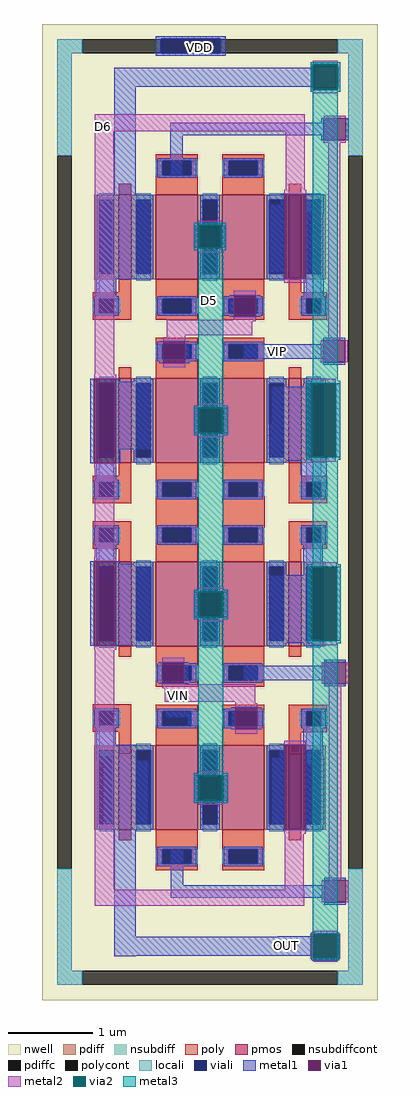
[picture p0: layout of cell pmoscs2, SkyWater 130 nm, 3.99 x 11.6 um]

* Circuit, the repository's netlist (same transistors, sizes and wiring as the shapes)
** sch_path: /home/deboradmk/opamp/mag/pmoscs2.sch
.subckt pmoscs2 VDD D5 VIN VIP OUT D6
*.PININFO VIN:I VIP:I D5:B VDD:B D6:B OUT:B
XM6 D6 VIN D5 VDD sky130_fd_pr__pfet_01v8 L=0.5 W=1 nf=1 m=4
XM7 OUT VIP D5 VDD sky130_fd_pr__pfet_01v8 L=0.5 W=1 nf=1 m=4
XM1 D6 D6 D6 VDD sky130_fd_pr__pfet_01v8 L=0.15 W=1 nf=1 m=4
XM2 OUT OUT OUT VDD sky130_fd_pr__pfet_01v8 L=0.15 W=1 nf=1 m=4
.ends
.end

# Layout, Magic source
magic
tech sky130A
magscale 1 2
<< nwell >>
rect -176 -305 622 2014
<< pmos >>
rect 410 1408 440 1410
rect 410 972 440 974
<< pdiff >>
rect 401 1408 410 1410
rect 440 1408 498 1410
rect 404 972 410 974
rect 440 972 498 974
<< nsubdiff >>
rect -140 1944 -80 1978
rect 526 1944 586 1978
rect -140 1701 -106 1944
rect 552 1701 586 1944
rect -140 -235 -106 7
rect 552 -235 586 7
rect -140 -269 -80 -235
rect 526 -269 586 -235
<< nsubdiffcont >>
rect -80 1944 526 1978
rect -140 7 -106 1701
rect 552 7 586 1701
rect -80 -269 526 -235
<< poly >>
rect 6 1377 36 1408
rect -56 1361 36 1377
rect -56 1327 -40 1361
rect -6 1327 36 1361
rect -56 1311 36 1327
rect 410 1377 440 1408
rect 410 1361 502 1377
rect 410 1327 452 1361
rect 486 1327 502 1361
rect 410 1311 502 1327
rect 6 941 36 970
rect -56 925 36 941
rect -56 891 -40 925
rect -6 891 36 925
rect 410 941 440 972
rect 410 925 502 941
rect -56 875 36 891
rect -56 817 36 833
rect 94 817 194 891
rect 253 818 353 892
rect 410 891 452 925
rect 486 891 502 925
rect 410 875 502 891
rect 410 817 502 833
rect -56 783 -40 817
rect -6 783 36 817
rect -56 767 36 783
rect 6 736 36 767
rect 410 783 452 817
rect 486 783 502 817
rect 410 767 502 783
rect 410 736 440 767
rect -56 382 36 398
rect -56 348 -40 382
rect -6 348 36 382
rect -56 332 36 348
rect 6 279 36 332
rect 410 381 502 397
rect 410 347 452 381
rect 486 347 502 381
rect 410 331 502 347
rect 410 279 440 331
<< polycont >>
rect -40 1327 -6 1361
rect 452 1327 486 1361
rect -40 891 -6 925
rect 452 891 486 925
rect -40 783 -6 817
rect 452 783 486 817
rect -40 348 -6 382
rect 452 347 486 381
<< locali >>
rect -140 1944 -80 1978
rect 526 1944 586 1978
rect -140 1701 -106 1944
rect 552 1701 586 1944
rect 452 1569 486 1610
rect -40 1406 -6 1408
rect -41 1361 -6 1406
rect 48 1404 49 1408
rect 452 1406 486 1410
rect 452 1361 487 1406
rect -56 1327 -40 1361
rect -6 1327 10 1361
rect 436 1327 452 1361
rect 486 1327 502 1361
rect 452 1134 486 1170
rect -40 970 -6 997
rect -41 925 -6 970
rect 48 969 54 971
rect 452 970 486 974
rect 452 925 487 970
rect -56 891 -40 925
rect -6 891 10 925
rect 436 891 452 925
rect 486 891 502 925
rect -56 783 -40 817
rect -6 783 10 817
rect 436 783 452 817
rect 486 783 502 817
rect -41 700 -6 783
rect 452 736 486 783
rect -56 348 -40 382
rect -6 348 10 382
rect -40 277 -6 348
rect 436 347 452 381
rect 486 347 502 381
rect 452 256 486 347
rect -140 -235 -106 7
rect 552 -235 586 7
rect -140 -269 -80 -235
rect 526 -269 586 -235
<< viali >>
rect 106 1978 248 1979
rect 106 1944 248 1978
rect -40 1327 -6 1361
rect 452 1327 486 1361
rect -40 891 -6 925
rect 452 891 486 925
rect -40 783 -6 817
rect 452 783 486 817
rect -40 348 -6 382
rect 452 347 486 381
<< metal1 >>
rect 94 1979 260 1985
rect 94 1944 106 1979
rect 248 1944 260 1979
rect 94 1938 260 1944
rect 471 1914 523 1920
rect -5 1865 471 1910
rect -5 1607 47 1865
rect 471 1856 523 1862
rect 487 1779 493 1790
rect 129 1750 493 1779
rect 129 1657 158 1750
rect 487 1738 493 1750
rect 545 1738 551 1790
rect -45 1586 82 1607
rect -46 1426 82 1586
rect 390 1584 400 1610
rect 187 1483 197 1535
rect 249 1483 259 1535
rect -45 1408 82 1426
rect 366 1424 400 1584
rect 390 1409 400 1424
rect 452 1563 493 1610
rect 452 1424 492 1563
rect 452 1410 462 1424
rect 452 1409 493 1410
rect 401 1408 404 1409
rect -47 1407 82 1408
rect -47 1367 0 1407
rect -52 1361 6 1367
rect -52 1327 -40 1361
rect -6 1327 6 1361
rect -52 1321 6 1327
rect 270 1318 280 1370
rect 332 1318 342 1370
rect 446 1367 493 1409
rect 440 1361 498 1367
rect 440 1327 452 1361
rect 486 1327 498 1361
rect 440 1321 498 1327
rect 492 1262 544 1268
rect 102 1208 112 1260
rect 164 1208 174 1260
rect 302 1219 492 1253
rect 492 1204 544 1210
rect -62 970 -52 1171
rect 0 1164 10 1171
rect 0 1004 84 1164
rect 453 1159 463 1161
rect 445 1152 463 1159
rect 185 1042 195 1102
rect 255 1042 265 1102
rect 370 1064 463 1152
rect 0 970 10 1004
rect 362 984 463 1064
rect 522 984 532 1161
rect 362 976 500 984
rect -47 931 0 970
rect -52 925 6 931
rect -52 891 -40 925
rect -6 891 6 925
rect -52 885 6 891
rect 440 925 500 976
rect 440 891 452 925
rect 486 910 500 925
rect 486 891 498 910
rect 440 885 498 891
rect -52 817 6 823
rect -52 783 -40 817
rect -6 783 6 817
rect -52 777 6 783
rect 440 817 498 823
rect 440 783 452 817
rect 486 783 498 817
rect 440 777 498 783
rect -47 738 0 777
rect -62 537 -52 738
rect 0 732 10 738
rect 445 736 491 777
rect 0 538 80 732
rect 455 723 465 725
rect 450 704 465 723
rect 185 605 195 665
rect 255 605 265 665
rect 360 548 465 704
rect 524 548 534 725
rect 360 544 486 548
rect 0 537 10 538
rect 494 498 546 504
rect 100 446 110 498
rect 162 446 172 498
rect 303 455 494 489
rect 494 440 546 446
rect -52 382 6 388
rect -52 348 -40 382
rect -6 348 6 382
rect 118 367 194 381
rect -52 342 6 348
rect 169 347 194 367
rect -47 301 -1 342
rect 273 338 283 390
rect 335 338 345 390
rect 440 381 498 387
rect 440 347 452 381
rect 486 347 498 381
rect 440 341 498 347
rect 445 301 491 341
rect -47 264 47 301
rect 389 272 399 301
rect -47 259 78 264
rect -30 104 78 259
rect 185 169 195 229
rect 255 169 265 229
rect 368 112 399 272
rect -5 -155 47 104
rect 389 100 399 112
rect 451 272 491 301
rect 451 112 494 272
rect 451 100 461 112
rect 130 -32 160 53
rect 494 -21 546 -15
rect 130 -62 494 -32
rect 494 -79 546 -73
rect 467 -147 527 -141
rect 384 -155 467 -154
rect -5 -200 467 -155
rect -5 -201 47 -200
rect 467 -213 527 -207
<< via1 >>
rect 471 1862 523 1914
rect 493 1738 545 1790
rect 197 1483 249 1535
rect 400 1409 452 1610
rect 280 1318 332 1370
rect 112 1208 164 1260
rect 492 1210 544 1262
rect -52 970 0 1171
rect 195 1042 255 1102
rect 463 984 522 1161
rect -52 537 0 738
rect 195 605 255 665
rect 465 548 524 725
rect 110 446 162 498
rect 494 446 546 498
rect 283 338 335 390
rect 195 169 255 229
rect 399 100 451 301
rect 494 -73 546 -21
rect 467 -207 527 -147
<< metal2 >>
rect 467 1918 527 1927
rect 465 1862 467 1914
rect 527 1862 529 1914
rect 467 1849 527 1858
rect -51 1759 448 1799
rect -51 1702 -6 1759
rect -51 1181 -5 1702
rect 403 1620 448 1759
rect 493 1790 545 1796
rect 493 1732 545 1738
rect 400 1610 452 1620
rect 195 1537 251 1547
rect 195 1471 251 1481
rect 400 1399 452 1409
rect 280 1370 332 1380
rect 280 1311 332 1318
rect 120 1308 332 1311
rect 120 1275 323 1308
rect 120 1270 164 1275
rect 112 1260 164 1270
rect 504 1262 533 1732
rect 486 1210 492 1262
rect 544 1210 550 1262
rect 112 1198 164 1208
rect -52 1171 0 1181
rect 463 1161 522 1171
rect 195 1102 255 1112
rect 195 1032 255 1042
rect 463 974 522 984
rect -52 960 0 970
rect -51 748 -5 960
rect -52 738 0 748
rect 465 725 524 735
rect 195 665 255 675
rect 195 595 255 605
rect 465 538 524 548
rect -52 527 0 537
rect -51 -43 -5 527
rect 110 498 162 508
rect 488 446 494 498
rect 546 446 552 498
rect 110 445 162 446
rect 110 436 330 445
rect 115 404 330 436
rect 283 400 330 404
rect 283 390 335 400
rect 283 328 335 338
rect 399 301 451 311
rect 195 229 255 239
rect 195 159 255 169
rect 399 90 451 100
rect 401 -43 446 90
rect 505 -21 535 446
rect -51 -81 447 -43
rect 488 -73 494 -21
rect 546 -73 552 -21
rect 469 -147 525 -140
rect 461 -207 467 -147
rect 527 -207 533 -147
rect 469 -214 525 -207
<< via2 >>
rect 467 1914 527 1918
rect 467 1862 471 1914
rect 471 1862 523 1914
rect 523 1862 527 1914
rect 467 1858 527 1862
rect 195 1535 251 1537
rect 195 1483 197 1535
rect 197 1483 249 1535
rect 249 1483 251 1535
rect 195 1481 251 1483
rect 195 1042 255 1102
rect 463 984 522 1161
rect 195 605 255 665
rect 465 548 524 725
rect 195 169 255 229
rect 469 -205 525 -149
<< metal3 >>
rect 462 1918 532 1923
rect 462 1858 467 1918
rect 527 1858 532 1918
rect 462 1853 532 1858
rect 185 1537 261 1542
rect 185 1481 195 1537
rect 251 1481 261 1537
rect 185 1476 261 1481
rect 195 1107 255 1476
rect 467 1166 527 1853
rect 453 1161 532 1166
rect 185 1102 265 1107
rect 185 1042 195 1102
rect 255 1042 265 1102
rect 185 1037 265 1042
rect 195 670 255 1037
rect 453 984 463 1161
rect 522 984 532 1161
rect 453 979 532 984
rect 467 730 527 979
rect 455 725 534 730
rect 185 665 265 670
rect 185 605 195 665
rect 255 605 265 665
rect 185 600 265 605
rect 195 234 255 600
rect 455 548 465 725
rect 524 548 534 725
rect 455 543 534 548
rect 185 229 265 234
rect 185 169 195 229
rect 255 169 265 229
rect 185 164 265 169
rect 467 -144 527 543
rect 464 -149 530 -144
rect 464 -205 469 -149
rect 525 -205 530 -149
rect 464 -210 530 -205
use sky130_fd_pr__pfet_01v8_2XUZHN  sky130_fd_pr__pfet_01v8_2XUZHN_0
transform 1 0 425 0 1 200
box -109 -162 109 162
use sky130_fd_pr__pfet_01v8_2XUZHN  sky130_fd_pr__pfet_01v8_2XUZHN_1
transform 1 0 21 0 1 200
box -109 -162 109 162
use sky130_fd_pr__pfet_01v8_2XUZHN  sky130_fd_pr__pfet_01v8_2XUZHN_2
transform 1 0 21 0 1 636
box -109 -162 109 162
use sky130_fd_pr__pfet_01v8_2XUZHN  sky130_fd_pr__pfet_01v8_2XUZHN_3
transform 1 0 21 0 1 1072
box -109 -162 109 162
use sky130_fd_pr__pfet_01v8_2XUZHN  sky130_fd_pr__pfet_01v8_2XUZHN_4
transform 1 0 21 0 1 1508
box -109 -162 109 162
use sky130_fd_pr__pfet_01v8_2XUZHN  sky130_fd_pr__pfet_01v8_2XUZHN_5
transform 1 0 425 0 1 1508
box -109 -162 109 162
use sky130_fd_pr__pfet_01v8_2XUZHN  sky130_fd_pr__pfet_01v8_2XUZHN_6
transform 1 0 425 0 1 1072
box -109 -162 109 162
use sky130_fd_pr__pfet_01v8_2XUZHN  sky130_fd_pr__pfet_01v8_2XUZHN_7
transform 1 0 425 0 1 636
box -109 -162 109 162
use sky130_fd_pr__pfet_01v8_BHV229  sky130_fd_pr__pfet_01v8_BHV229_0
transform 1 0 223 0 1 854
box -223 -854 223 854
<< labels >>
flabel viali 198 1958 198 1958 0 FreeSans 800 0 0 0 VDD
port 0 nsew
flabel metal2 -30 1770 -30 1770 0 FreeSans 800 0 0 0 D6
port 4 nsew
flabel metal1 383 1236 383 1236 0 FreeSans 800 0 0 0 VIP
port 12 nsew
flabel metal2 149 418 149 418 0 FreeSans 800 0 0 0 VIN
port 14 nsew
flabel metal1 404 -176 406 -176 0 FreeSans 800 0 0 0 OUT
port 16 nsew
flabel metal3 222 1356 222 1356 0 FreeSans 800 0 0 0 D5
port 18 nsew
<< end >>

# cell sky130_fd_pr__pfet_01v8_2XUZHN: kit device sky130_fd_pr__pfet_01v8, w 1 l 0.15 m 1 nf 1 diffcov 100 polycov 100 guard 0 glc 1 grc 1 gtc 1 gbc 1 tbcov 100 rlcov 100 topc 0 botc 0 poverlap 0 doverlap 1 lmin 0.15 wmin 0.42 compatible {sky130_fd_pr__pfet_01v8 sky130_fd_pr__pfet_01v8_lvt sky130_fd_pr__pfet_01v8_hvt sky130_fd_pr__pfet_g5v0d10v5} full_metal 1 viasrc 100 viadrn 100 viagate 100 viagb 0 viagr 0 viagl 0 viagt 0

# cell sky130_fd_pr__pfet_01v8_BHV229: kit device sky130_fd_pr__pfet_01v8, w 1 l 0.5 m 4 nf 2 diffcov 100 polycov 100 guard 0 glc 1 grc 1 gtc 1 gbc 1 tbcov 100 rlcov 100 topc 1 botc 1 poverlap 0 doverlap 1 lmin 0.15 wmin 0.42 compatible {sky130_fd_pr__pfet_01v8 sky130_fd_pr__pfet_01v8_lvt sky130_fd_pr__pfet_01v8_hvt sky130_fd_pr__pfet_g5v0d10v5} full_metal 1 viasrc 100 viadrn 100 viagate 100 viagb 0 viagr 0 viagl 0 viagt 0
